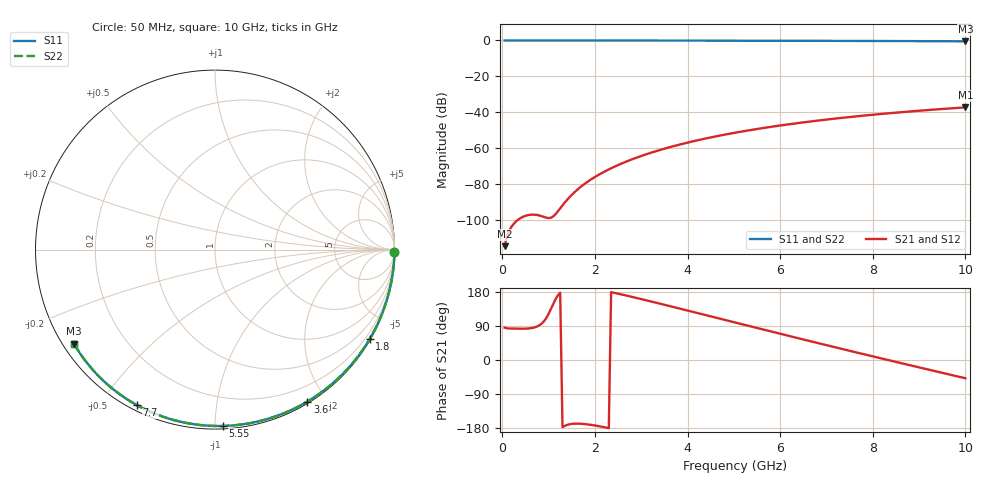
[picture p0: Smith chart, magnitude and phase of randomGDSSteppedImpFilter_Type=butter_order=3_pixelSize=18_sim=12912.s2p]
! freq	dB(S11)	phase(S11)	dB(S12)	phase(S12)
!  dB(S21)	phase(S21)	dB(S22)	phase(S22)
!S-par simulation data
#  GHz  S  DB  R 50
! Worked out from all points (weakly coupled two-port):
!   200 points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, 50 MHz to 10 GHz, reference 50 ohm
!   highest |S21| = -37.32 dB at 10 GHz (marker M1); lowest = -114.7 dB at 50 MHz (marker M2)
!   lowest |S11| = -0.5 dB at 10 GHz (marker M3), VSWR 35.19, Z = 1.55 - j15.1 ohm
!   |S11| at or under -10 dB: nowhere
!   |S22| runs from -0.5 to 0.0 dB; largest |S21 - S12| = 0
!   S11 on the Smith chart (normalised r, x): 50 MHz: open; 1.8 GHz: 0.03, -3.71; 3.6 GHz: 0.02, -1.78; 5.55 GHz: 0.02, -1.04; 7.7 GHz: 0.02, -0.62; 10 GHz: 0.03, -0.30
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0.05  -0.00 -0.9  -114.72 85.5  -114.72 85.5  -0.00 -0.9
0.45  -0.01 -7.7  -98.30 82.5  -98.30 82.5  -0.01 -7.7
0.9  -0.02 -15.2  -98.41 102.2  -98.41 102.2  -0.02 -15.2
1.3  -0.03 -21.9  -91.93 -177.3  -91.93 -177.3  -0.03 -21.9
1.75  -0.04 -29.3  -80.50 -168.7  -80.50 -168.7  -0.04 -29.3
1.8  -0.04 -30.1  -79.54 -169.3  -79.54 -169.3  -0.04 -30.1
1.95  -0.04 -32.6  -76.93 -171.8  -76.93 -171.8  -0.04 -32.6
2.1  -0.04 -35.0  -74.63 -174.9  -74.63 -174.9  -0.04 -35.0
2.3  -0.05 -38.3  -71.90 -179.7  -71.90 -179.7  -0.05 -38.3
2.5  -0.05 -41.5  -69.48 175.0  -69.48 175.0  -0.05 -41.5
2.9  -0.06 -47.9  -65.34 163.7  -65.34 163.7  -0.06 -47.8
3.4  -0.07 -55.7  -61.10 148.8  -61.10 148.8  -0.07 -55.7
3.6  -0.08 -58.8  -59.63 142.8  -59.63 142.8  -0.08 -58.8
4.3  -0.10 -69.3  -55.18 121.3  -55.18 121.3  -0.10 -69.3
5.05  -0.12 -80.3  -51.34 98.3  -51.34 98.3  -0.12 -80.3
5.55  -0.14 -87.5  -49.16 83.0  -49.16 83.0  -0.14 -87.5
6.1  -0.17 -95.1  -47.06 66.2  -47.06 66.2  -0.17 -95.1
6.7  -0.20 -103.3  -45.03 48.1  -45.03 48.1  -0.20 -103.3
7.7  -0.27 -116.6  -42.17 18.4  -42.17 18.4  -0.27 -116.6
8.35  -0.32 -125.1  -40.59 -0.7  -40.59 -0.7  -0.32 -125.1
9.2  -0.40 -136.0  -38.78 -25.3  -38.78 -25.3  -0.40 -136.0
10  -0.49 -146.3  -37.32 -48.2  -37.32 -48.2  -0.49 -146.3
